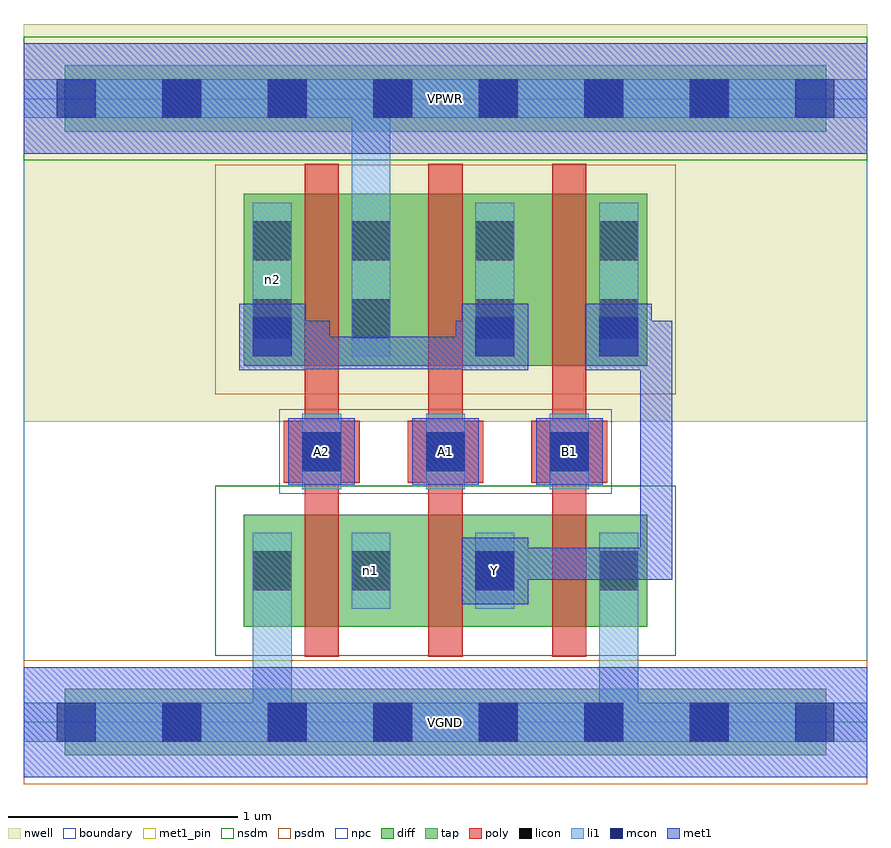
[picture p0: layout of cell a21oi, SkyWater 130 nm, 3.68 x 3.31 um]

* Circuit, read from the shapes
.subckt a21oi A1 A2 B1 VGND VPWR Y n1 n2
XM1 n1 A2 VGND VGND sky130_fd_pr__nfet_01v8 w=0.49 l=0.15
XM2 Y A1 n1 VGND sky130_fd_pr__nfet_01v8 w=0.49 l=0.15
XM3 VGND B1 Y VGND sky130_fd_pr__nfet_01v8 w=0.49 l=0.15
XM4 VPWR A2 n2 VPWR sky130_fd_pr__pfet_01v8 w=0.75 l=0.15
XM5 n2 A1 VPWR VPWR sky130_fd_pr__pfet_01v8 w=0.75 l=0.15
XM6 Y B1 n2 VPWR sky130_fd_pr__pfet_01v8 w=0.75 l=0.15
.ends

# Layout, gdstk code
import gdstk
lib = gdstk.Library(unit=1e-6, precision=1e-09)
def R(c, l, rs):  # rectangles x0, y0, x1, y1
    for r in rs: c.add(gdstk.rectangle(r[:2], r[2:], *l))
def A(c, l, x, y, w, h, nx, ny, dx, dy):  # array of equal rectangles
    R(c, l, [(x+i*dx, y+j*dy, x+i*dx+w, y+j*dy+h) for i in range(nx) for j in range(ny)])
nwell = (64, 20)
diff = (65, 20)
tap = (65, 44)
poly = (66, 20)
licon = (66, 44)
li1 = (67, 20)
mcon = (67, 44)
met1_pin = (68, 16)
met1 = (68, 20)
nsdm = (93, 44)
psdm = (94, 20)
npc = (95, 20)
boundary = (235, 4)

a21oi = lib.new_cell('a21oi')
R(a21oi, nwell, [(0,1.31,3.68,3.045)])
R(a21oi, diff, [(0.96,0.415,2.72,0.905), (0.96,1.555,2.72,2.305)])
R(a21oi, tap, [(0.18,-0.145,3.5,0.145), (0.18,2.575,3.5,2.865)])
A(a21oi, poly, 1.225, 0.285, 0.15, 2.15, 3, 1, 0.54, 0)
A(a21oi, poly, 1.135, 1.045, 0.33, 0.27, 3, 1, 0.54, 0)
A(a21oi, licon, 0.605, -0.085, 0.17, 0.17, 6, 2, 0.46, 2.72)
A(a21oi, licon, 1.43, 0.575, 0.17, 0.17, 3, 2, 0.54, 1.1)
A(a21oi, licon, 1.215, 1.095, 0.17, 0.17, 3, 1, 0.54, 0)
A(a21oi, licon, 1.43, 2.015, 0.17, 0.17, 3, 1, 0.54, 0)
R(a21oi, licon, [(1,0.575,1.17,0.745), (1,1.675,1.17,1.845), (1,2.015,1.17,2.185)])
A(a21oi, li1, 1.43, 0.495, 0.17, 0.33, 3, 1, 0.54, 0)
A(a21oi, li1, 1.215, 1.015, 0.17, 0.33, 3, 1, 0.54, 0)
A(a21oi, li1, 1.43, 1.595, 0.17, 0.67, 3, 1, 0.54, 0)
R(a21oi, li1, [(0,-0.085,3.68,0.085), (1,-0.085,1.17,0.825), (2.51,-0.085,2.68,0.825), (1,0.495,1.17,0.825), (1,1.595,1.17,2.265), (1.43,1.595,1.6,2.805), (0,2.635,3.68,2.805)])
A(a21oi, mcon, 0.145, -0.085, 0.17, 0.17, 8, 2, 0.46, 2.72)
A(a21oi, mcon, 1.215, 1.095, 0.17, 0.17, 3, 1, 0.54, 0)
R(a21oi, mcon, [(1.97,0.575,2.14,0.745), (1,1.595,1.17,1.765), (1.97,1.595,2.14,1.765), (2.51,1.595,2.68,1.765)])
A(a21oi, met1_pin, 1.155, 1.035, 0.29, 0.29, 3, 1, 0.54, 0)
R(a21oi, met1_pin, [(0,-0.24,3.68,0.24), (1.91,0.515,2.2,0.805), (0,2.48,3.68,2.96)])
A(a21oi, met1, 1.155, 1.035, 0.29, 0.29, 3, 1, 0.54, 0)
R(a21oi, met1, [(0,-0.24,3.68,0.24), (1.91,0.515,2.2,0.805), (2,0.62,2.83,0.76), (2,0.62,2.14,0.76), (2.69,0.62,2.83,1.565), (2.69,1.425,2.83,1.75), (0.94,1.535,1.23,1.825), (1.91,1.535,2.2,1.825), (2.45,1.535,2.74,1.825), (1.195,1.54,1.335,1.75), (1.195,1.54,2.025,1.68), (1.885,1.54,2.025,1.75), (1.015,1.61,1.335,1.75), (1.885,1.61,2.125,1.75), (2.525,1.61,2.83,1.75), (0,2.48,3.68,2.96)])
R(a21oi, nsdm, [(0.835,0.29,2.845,1.03), (0,2.45,3.68,2.99)])
R(a21oi, psdm, [(0,-0.27,3.68,0.27), (0.835,1.43,2.845,2.43)])
R(a21oi, npc, [(1.115,0.995,2.565,1.365)])
R(a21oi, boundary, [(0,0,3.68,2.72)])
a21oi.add(gdstk.Label('n1', (1.515,0.66), layer=67, texttype=5))
a21oi.add(gdstk.Label('n2', (1.085,1.93), layer=67, texttype=5))
a21oi.add(gdstk.Label('A1', (1.84,1.18), layer=68, texttype=5))
a21oi.add(gdstk.Label('A2', (1.3,1.18), layer=68, texttype=5))
a21oi.add(gdstk.Label('B1', (2.38,1.18), layer=68, texttype=5))
a21oi.add(gdstk.Label('Y', (2.055,0.66), layer=68, texttype=5))
a21oi.add(gdstk.Label('VPWR', (1.84,2.72), layer=68, texttype=5))
a21oi.add(gdstk.Label('VGND', (1.84,0), layer=68, texttype=5))
a21oi.add(gdstk.Label('A1', (1.84,1.18), layer=68, texttype=16))
a21oi.add(gdstk.Label('A2', (1.3,1.18), layer=68, texttype=16))
a21oi.add(gdstk.Label('B1', (2.38,1.18), layer=68, texttype=16))
a21oi.add(gdstk.Label('Y', (2.055,0.66), layer=68, texttype=16))
a21oi.add(gdstk.Label('VPWR', (1.84,2.72), layer=68, texttype=16))
a21oi.add(gdstk.Label('VGND', (1.84,0), layer=68, texttype=16))

lib.write_gds('a21oi.gds')
